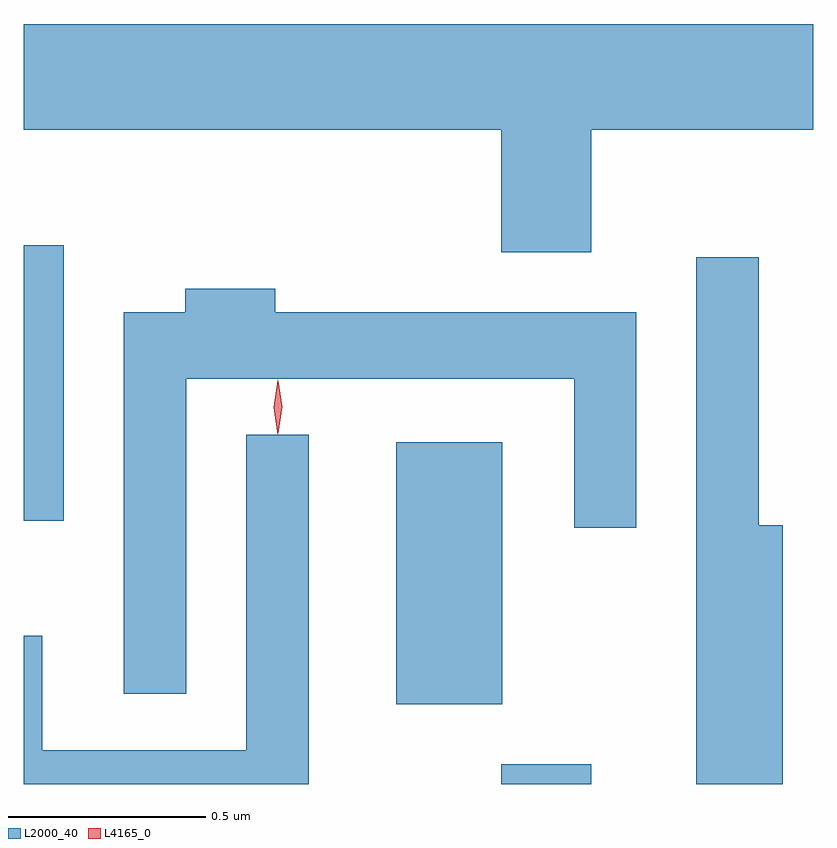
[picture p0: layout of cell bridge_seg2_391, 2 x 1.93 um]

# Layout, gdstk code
import gdstk
lib = gdstk.Library(unit=1e-6, precision=1e-09)
def R(c, l, rs):  # rectangles x0, y0, x1, y1
    for r in rs: c.add(gdstk.rectangle(r[:2], r[2:], *l))
def P(c, l, *ps):  # polygons
    for p in ps: c.add(gdstk.Polygon(p, *l))
L2000_40 = (2000, 40)
L4165_0 = (4165, 0)

bridge_seg2_391 = lib.new_cell('bridge_seg2_391')
R(bridge_seg2_391, L2000_40, [(625.111,1013.359,625.339,1013.409), (624.846,1013.561,625.114,1014.224), (623.902,1014.026,624.004,1014.724)])
P(bridge_seg2_391, L2000_40, [(625.339,1015.016),(625.902,1015.016),(625.902,1015.284),(623.902,1015.284),(623.902,1015.016),(625.111,1015.016),(625.111,1014.706),(625.339,1014.706)],
  [(625.824,1014.014),(625.764,1014.014),(625.764,1014.693),(625.606,1014.693),(625.606,1013.359),(625.824,1013.359)],
  [(624.314,1014.386),(625.296,1014.386),(625.296,1014.008),(625.454,1014.008),(625.454,1014.554),(624.539,1014.554),(624.539,1014.614),(624.311,1014.614),(624.311,1014.554),(624.156,1014.554),(624.156,1013.588),(624.314,1013.588)],
  [(624.624,1014.243),(624.466,1014.243),(624.466,1013.444),(623.949,1013.444),(623.949,1013.734),(623.902,1013.734),(623.902,1013.359),(624.624,1013.359)])
P(bridge_seg2_391, L4165_0, [(624.547,1014.247),(624.546,1014.248),(624.537,1014.314),(624.546,1014.38),(624.547,1014.381),(624.547,1014.38),(624.557,1014.314),(624.547,1014.248)],
  [(624.545,1014.244),(624.535,1014.313),(624.545,1014.382),(624.546,1014.383),(624.546,1014.382),(624.556,1014.313),(624.546,1014.244),(624.546,1014.244)])

lib.write_gds('bridge_seg2_391.gds')
